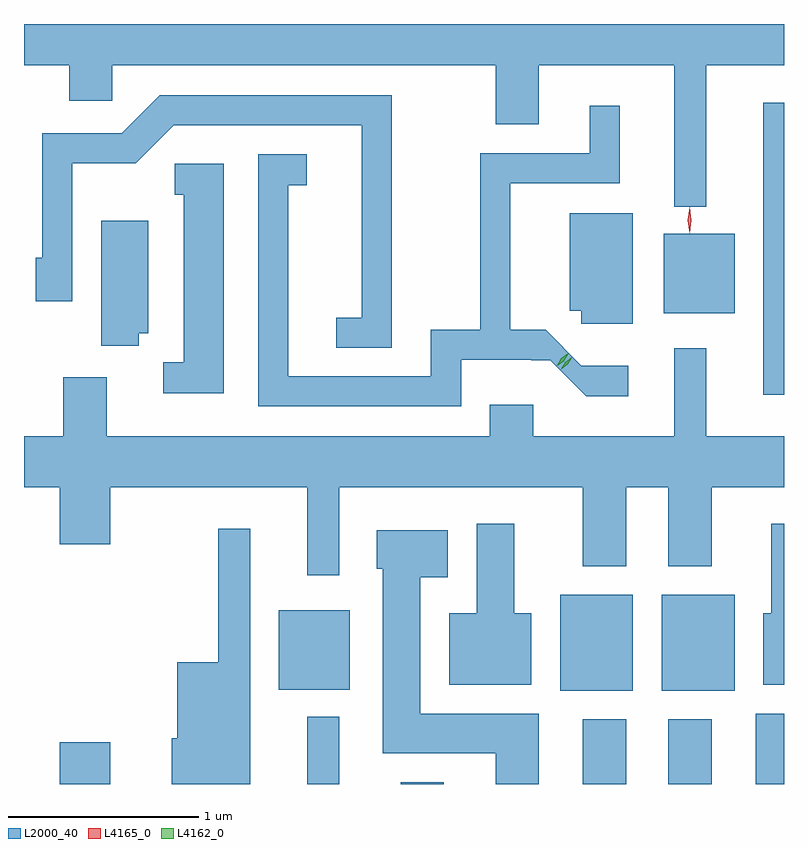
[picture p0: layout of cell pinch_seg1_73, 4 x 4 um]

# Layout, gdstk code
import gdstk
lib = gdstk.Library(unit=1e-6, precision=1e-09)
def R(c, l, rs):  # rectangles x0, y0, x1, y1
    for r in rs: c.add(gdstk.rectangle(r[:2], r[2:], *l))
def P(c, l, *ps):  # polygons
    for p in ps: c.add(gdstk.Polygon(p, *l))
L2000_40 = (2000, 40)
L4162_0 = (4162, 0)
L4165_0 = (4165, 0)

pinch_seg1_73 = lib.new_cell('pinch_seg1_73')
R(pinch_seg1_73, L2000_40, [(195.096,862.494,195.364,862.714), (196.401,862.494,196.569,862.848), (196.891,862.494,197.119,862.504), (197.851,862.494,198.079,862.834), (198.301,862.494,198.529,862.834), (198.761,862.494,198.909,862.864), (197.731,862.986,198.114,863.489), (198.266,862.986,198.649,863.489), (196.251,862.991,196.624,863.409), (198.801,864.543,198.909,866.079), (198.276,864.971,198.649,865.389)])
P(pinch_seg1_73, L2000_40, [(198.499,866.276),(198.909,866.276),(198.909,866.494),(194.909,866.494),(194.909,866.276),(195.146,866.276),(195.146,866.091),(195.374,866.091),(195.374,866.276),(197.391,866.276),(197.391,865.966),(197.619,865.966),(197.619,866.276),(198.331,866.276),(198.331,865.533),(198.499,865.533)],
  [(196.844,866.119),(195.624,866.119),(195.424,865.919),(195.006,865.919),(195.006,865.264),(194.971,865.264),(194.971,865.036),(195.164,865.036),(195.164,865.761),(195.497,865.761),(195.697,865.961),(196.686,865.961),(196.686,864.949),(196.553,864.949),(196.553,864.791),(196.844,864.791)],
  [(197.209,864.726),(197.578,864.726),(197.578,864.724),(197.68,864.724),(197.868,864.536),(198.088,864.536),(198.088,864.696),(197.843,864.696),(197.655,864.884),(197.469,864.884),(197.469,865.656),(198.044,865.656),(198.044,866.063),(197.886,866.063),(197.886,865.814),(197.311,865.814),(197.311,864.884),(197.051,864.884),(197.051,864.639),(196.299,864.639),(196.299,865.646),(196.398,865.646),(196.398,865.809),(196.141,865.809),(196.141,864.481),(197.209,864.481)],
  [(195.959,865.759),(195.703,865.759),(195.703,865.596),(195.751,865.596),(195.751,864.714),(195.643,864.714),(195.643,864.551),(195.959,864.551)],
  [(198.114,865.499),(197.781,865.499),(197.781,864.986),(197.841,864.986),(197.841,864.916),(198.114,864.916)],
  [(195.514,864.866),(195.564,864.866),(195.564,865.459),(195.316,865.459),(195.316,864.801),(195.514,864.801)],
  [(196.569,864.056),(197.851,864.056),(197.851,863.641),(198.079,863.641),(198.079,864.056),(198.301,864.056),(198.301,863.641),(198.529,863.641),(198.529,864.056),(198.909,864.056),(198.909,864.324),(198.499,864.324),(198.499,864.788),(198.331,864.788),(198.331,864.324),(197.589,864.324),(197.589,864.489),(197.361,864.489),(197.361,864.324),(195.344,864.324),(195.344,864.634),(195.116,864.634),(195.116,864.324),(194.909,864.324),(194.909,864.056),(195.096,864.056),(195.096,863.756),(195.364,863.756),(195.364,864.056),(196.401,864.056),(196.401,863.593),(196.569,863.593)],
  [(197.579,863.394),(197.489,863.394),(197.489,863.864),(197.291,863.864),(197.291,863.394),(197.146,863.394),(197.146,863.016),(197.579,863.016)],
  [(198.909,863.864),(198.841,863.864),(198.841,863.394),(198.801,863.394),(198.801,863.016),(198.909,863.016)],
  [(196.099,863.838),(195.931,863.838),(195.931,863.134),(195.716,863.134),(195.716,862.734),(195.686,862.734),(195.686,862.494),(196.099,862.494)],
  [(197.619,862.864),(196.994,862.864),(196.994,863.581),(197.139,863.581),(197.139,863.829),(196.766,863.829),(196.766,863.626),(196.796,863.626),(196.796,862.656),(197.391,862.656),(197.391,862.494),(197.619,862.494)])
P(pinch_seg1_73, L4162_0, [(197.736,864.678),(197.736,864.679),(197.757,864.715),(197.791,864.739),(197.792,864.739),(197.792,864.738),(197.771,864.702),(197.737,864.678)],
  [(197.712,864.692),(197.712,864.693),(197.736,864.734),(197.774,864.762),(197.775,864.762),(197.775,864.762),(197.751,864.72),(197.712,864.692)])
P(pinch_seg1_73, L4165_0, [(198.412,865.398),(198.412,865.399),(198.402,865.463),(198.412,865.527),(198.412,865.527),(198.413,865.527),(198.422,865.463),(198.413,865.399)],
  [(198.412,865.393),(198.412,865.394),(198.402,865.462),(198.412,865.53),(198.412,865.53),(198.413,865.53),(198.422,865.462),(198.413,865.394)])

lib.write_gds('pinch_seg1_73.gds')
